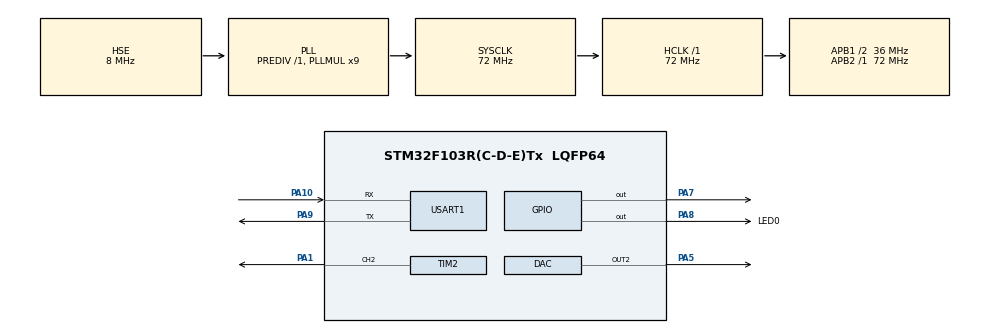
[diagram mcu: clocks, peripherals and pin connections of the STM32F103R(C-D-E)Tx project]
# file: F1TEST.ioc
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DAC.DAC_OutputBuffer2=DAC_OUTPUTBUFFER_DISABLE
DAC.DAC_Trigger2=DAC_TRIGGER_T6_TRGO
Dma.DAC_CH2.0.Direction=DMA_MEMORY_TO_PERIPH
Dma.DAC_CH2.0.Instance=DMA2_Channel4
Dma.DAC_CH2.0.MemDataAlignment=DMA_MDATAALIGN_HALFWORD
Dma.DAC_CH2.0.MemInc=DMA_MINC_ENABLE
Dma.DAC_CH2.0.Mode=DMA_CIRCULAR
Dma.DAC_CH2.0.PeriphDataAlignment=DMA_PDATAALIGN_HALFWORD
Dma.DAC_CH2.0.PeriphInc=DMA_PINC_DISABLE
Dma.DAC_CH2.0.Priority=DMA_PRIORITY_LOW
Dma.Request0=DAC_CH2
Mcu.Family=STM32F1
Mcu.Name=STM32F103R(C-D-E)Tx
Mcu.Package=LQFP64
NVIC.DMA2_Channel4_5_IRQn=true\:0\:0\:false\:false\:true\:false\:true
NVIC.PriorityGroup=NVIC_PRIORITYGROUP_4
NVIC.USART1_IRQn=true\:0\:0\:false\:false\:true\:true\:true
PA1.Signal=S_TIM2_CH2
PA10.Mode=Asynchronous
PA10.Signal=USART1_RX
PA13.Mode=Serial_Wire
PA13.Signal=SYS_JTMS-SWDIO
PA14.Mode=Serial_Wire
PA14.Signal=SYS_JTCK-SWCLK
PA5.Signal=COMP_DAC2_group
PA7.Signal=GPIO_Output
PA8.GPIO_Label=LED0
PA8.PinState=GPIO_PIN_SET
PA8.Signal=GPIO_Output
PA9.Mode=Asynchronous
PA9.Signal=USART1_TX
PD0-OSC_IN.Mode=HSE-External-Oscillator
PD0-OSC_IN.Signal=RCC_OSC_IN
PD1-OSC_OUT.Mode=HSE-External-Oscillator
PD1-OSC_OUT.Signal=RCC_OSC_OUT
ProjectManager.HeapSize=0x200
ProjectManager.StackSize=0x400
ProjectManager.TargetToolchain=MDK-ARM V5.32
RCC.AHBFreq_Value=72000000
RCC.APB1CLKDivider=RCC_HCLK_DIV2
RCC.APB1Freq_Value=36000000
RCC.APB1TimFreq_Value=72000000
RCC.APB2Freq_Value=72000000
RCC.APB2TimFreq_Value=72000000
RCC.HCLKFreq_Value=72000000
RCC.PLLMUL=RCC_PLL_MUL9
RCC.PLLSourceVirtual=RCC_PLLSOURCE_HSE
RCC.SYSCLKFreq_VALUE=72000000
RCC.SYSCLKSource=RCC_SYSCLKSOURCE_PLLCLK
RCC.USBFreq_Value=72000000
SH.COMP_DAC2_group.0=DAC_OUT2,DAC_OUT2
SH.S_TIM2_CH2.0=TIM2_CH2,PWM Generation2 CH2
TIM2.Channel-PWM\ Generation2\ CH2=TIM_CHANNEL_2
TIM2.Period=200-1
TIM2.Prescaler=7200-1
TIM6.AutoReloadPreload=TIM_AUTORELOAD_PRELOAD_DISABLE
TIM6.Period=240-1
TIM6.TIM_MasterOutputTrigger=TIM_TRGO_UPDATE
USART1.VirtualMode=VM_ASYNC
VP_TIM6_VS_ClockSourceINT.Mode=Enable_Timer
board=custom

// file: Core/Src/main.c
/* USER CODE BEGIN Header */
/**
  ******************************************************************************
  * @file           : main.c
  * @brief          : Main program body
  ******************************************************************************
  * @attention
  *
  * <h2><center>&copy; Copyright (c) 2024 STMicroelectronics.
  * All rights reserved.</center></h2>
  *
  * This software component is licensed by ST under BSD 3-Clause license,
  * the "License"; You may not use this file except in compliance with the
  * License. You may obtain a copy of the License at:
  *                        opensource.org/licenses/BSD-3-Clause
  *
  ******************************************************************************
  */
/* USER CODE END Header */
#include "main.h"
#include "dac.h"
#include "dma.h"
#include "tim.h"
#include "usart.h"
#include "gpio.h"

/* USER CODE BEGIN Includes */
#include "LCD/lcd.h"
#include "KEY/key.h"
#include "string.h"
#include "math.h"
#include "stdio.h"
/* USER CODE END Includes */

/* USER CODE BEGIN PD */

#define PI 3.1415926
#define SCREEN_WIDTH  240
#define SCREEN_HEIGHT 320
#define RXBUFFERSIZE  256     //最大接收字节数

/* USER CODE END PD */

/* USER CODE BEGIN PV */

char RxBuffer[RXBUFFERSIZE];   //接收数据

uint8_t aRxBuffer;			//接收中断缓冲
uint8_t Uart1_Rx_Cnt = 0;		//接收缓冲计数
uint8_t LED_Flag = 0;
uint16_t SinWaveTable[300] = {0};
uint16_t TriangleWaveTable[300] = {0};
uint8_t key = 0;
uint16_t N_POINTS = 600;    //一个周期300个点
uint32_t ARR = 0;           //自动重装载值
uint8_t  pulse = 100;
float VMaxRange = 3.3;
float currentFrequency = 1000.0f;
/* USER CODE END PV */

void SystemClock_Config(void);
/* USER CODE BEGIN PFP */

void SineWaveGen(uint32_t NPoints, float VMaxRange, uint16_t* SineWaveTable);
void TriangleWaveGen(uint32_t NPoints, float VMaxRange, uint16_t* TriangleWaveTable);
void display_sine_wave_on_lcd(void) ;
void display_triangle_wave_on_lcd(void) ;
void Display_SquareWave(void);

/* USER CODE END PFP */

int main(void)
{

  /* MCU Configuration--------------------------------------------------------*/

  /* Reset of all peripherals, Initializes the Flash interface and the Systick. */
  HAL_Init();

  /* Configure the system clock */
  SystemClock_Config();

  /* Initialize all configured peripherals */
  MX_GPIO_Init();
  MX_USART1_UART_Init();
  MX_DMA_Init();
  MX_DAC_Init();
  MX_TIM6_Init();
  MX_TIM2_Init();
  /* USER CODE BEGIN 2 */
  lcd_init();
  key_init();
  lcd_clear(WHITE);
  HAL_UART_Receive_IT(&huart1, (uint8_t *)&aRxBuffer, 1);
//  SineWaveGen(300,1.1, SinWaveTable);
//  TriangleWaveGen(300,1.1,TriangleWaveTable);
//  display_triangle_wave_on_lcd();
  HAL_TIM_Base_Start(&htim6);
//  HAL_DAC_Start_DMA(&hdac,DAC_CHANNEL_2,(uint32_t *)SinWaveTable,300,DAC_ALIGN_12B_R);
//	display_sine_wave_on_lcd();
//	for (uint32_t i = 0; i < 300; i++)
//  {
//        printf("TriangleWaveTable[%d] = %u\r\n", i, TriangleWaveTable[i]);  // 打印数组索引和对应的值
//  }

  /* USER CODE END 2 */

  /* Infinite loop */
  while (1)
  {

    /* USER CODE BEGIN 3 */
     key = key_scan(0);
//		if(key == 1)
//		{
//			if(VMaxRange < 3.3)
//			{
//					VMaxRange += 0.1;
//				    if (VMaxRange > 3.3)
//					{
//						VMaxRange = 3.3;  // 限制最大值为 3.3
//					}
//					lcd_clear(WHITE);
//			}
//		}
//		if(key ==2)
//		{
//			if(VMaxRange > 0)
//			{
//					VMaxRange -= 0.1;
//					lcd_clear(WHITE);
//			}
//		}
//		if(key ==3)
//		{
//		    if(currentFrequency < 10000.0f)  // 频率最大为10kHz
//		    {
//                    currentFrequency += 1000.0f;  // 增加1kHz
//					N_POINTS *= 2;
//					lcd_clear(WHITE);
//			}
//
//		}
//		 ARR = (HAL_RCC_GetPCLK2Freq() / (currentFrequency * 300)) -1;
//		__HAL_TIM_SET_AUTORELOAD(&htim6, ARR);
		//printf("%d\r\n",ARR);
//		printf("%.2f\r\n",VMaxRange);

		//SineWaveGen(300, VMaxRange, SinWaveTable);
		//lcd_clear(WHITE);
		//display_sine_wave_on_lcd();
	  lcd_show_string(20,20,30,20,24,"F ",BLACK);
//	  lcd_show_num(45,20,currentFrequency/1000,2,24,BLACK);
	  lcd_show_string(85,20,30,20,24,"KHZ",BLACK);
	  lcd_show_string(20,45,30,20,24,"V ",BLACK);
	  lcd_show_string(110,45,30,20,24,"V",BLACK);
		lcd_show_string(20,70,80,20,24,"Pulse :",BLACK);
		lcd_show_string(150,70,30,20,24,"%",BLACK);
//	  lcd_show_num(45,45,VMaxRange,2,24,BLACK);
//	  lcd_show_string(75,45,5,5,24,".",BLACK);
//	  lcd_show_num(80,45,(int)(VMaxRange * 10) % 10,2,24,BLACK);
	  if(LED_Flag == 1)
	  {
			if(key == 1)
			{
				if(VMaxRange < 3.3)
				{
					VMaxRange += 0.1;
				    if (VMaxRange > 3.3)
					{
						VMaxRange = 3.3;  // 限制最大值为 3.3
					}
					lcd_clear(WHITE);
				}
			}
			if(key ==2)
			{
				if(VMaxRange > 0)
				{
					VMaxRange -= 0.1;
					lcd_clear(WHITE);
				}
			}
			if(key ==3)
			{
				if(currentFrequency < 10000.0f)  // 频率最大为10kHz
				{
                    currentFrequency += 1000.0f;  // 增加1kHz
					N_POINTS *= 2;
					lcd_clear(WHITE);
				}

			}
			ARR = (HAL_RCC_GetPCLK2Freq() / (currentFrequency * 300)) -1;
			__HAL_TIM_SET_AUTORELOAD(&htim6, ARR);
			SineWaveGen(300, VMaxRange, SinWaveTable);
			HAL_DAC_Stop_DMA(&hdac,DAC_CHANNEL_2);
			HAL_DAC_Start_DMA(&hdac,DAC_CHANNEL_2,(uint32_t *)SinWaveTable,300,DAC_ALIGN_12B_R);
			//lcd_clear(WHITE);
		    lcd_show_num(45,20,currentFrequency/1000,2,24,BLACK);
			lcd_show_num(45,45,VMaxRange,2,24,BLACK);
			lcd_show_string(75,45,5,5,24,".",BLACK);
			lcd_show_num(80,45,(int)(VMaxRange * 10) % 10,2,24,BLACK);
			lcd_show_string(45,270,30,20,24,"Sin",BLACK);
			display_sine_wave_on_lcd();
	  }
	  else if(LED_Flag == 2)
	  {
		  //HAL_GPIO_WritePin(GPIOA,GPIO_PIN_8,GPIO_PIN_RESET);
		  if(key == 1)
			{
				if(VMaxRange < 3.3)
				{
					VMaxRange += 0.1;
				  if (VMaxRange > 3.3)
					{
						VMaxRange = 3.3;  // 限制最大值为 3.3
					}
					lcd_clear(WHITE);
				}
			}
			if(key ==2)
			{
				if(VMaxRange > 0)
				{
					VMaxRange -= 0.1;
					lcd_clear(WHITE);
				}
			}
			if(key ==3)
			{
				if(currentFrequency < 10000.0f)  // 频率最大为10kHz
				{
                    currentFrequency += 1000.0f;  // 增加1kHz
					N_POINTS *= 2;
					lcd_clear(WHITE);
				}

			}
		  ARR = (HAL_RCC_GetPCLK2Freq() / (currentFrequency * 300)) -1;
		  __HAL_TIM_SET_AUTORELOAD(&htim6, ARR);
		  TriangleWaveGen(300, VMaxRange, TriangleWaveTable);
		  HAL_DAC_Stop_DMA(&hdac,DAC_CHANNEL_2);
		  HAL_DAC_Start_DMA(&hdac,DAC_CHANNEL_2,(uint32_t *)TriangleWaveTable,300,DAC_ALIGN_12B_R);
		  lcd_show_num(45,20,currentFrequency/1000,2,24,BLACK);
		  lcd_show_num(45,45,VMaxRange,2,24,BLACK);
		  lcd_show_string(75,45,5,5,24,".",BLACK);
		  lcd_show_num(80,45,(int)(VMaxRange * 10) % 10,2,24,BLACK);
		  lcd_show_string(45,270,90,20,24,"Triangle",BLACK);
		  display_triangle_wave_on_lcd();
	  }
	  else if (LED_Flag == 3 )
	  {
			if(key == 1)
			{
				if(pulse < 200)
				{
					pulse += 1;
					lcd_clear(WHITE);
				}
			}
			if(key ==2)
			{
				if(pulse > 0)
				{
					pulse -= 1;
					lcd_clear(WHITE);
				}
			}
			__HAL_TIM_SET_COUNTER(&htim2,pulse);
			HAL_TIM_PWM_Start(&htim2,TIM_CHANNEL_2);  //PA1
		  lcd_show_string(45,270,90,20,24,"PWM WARE",BLACK);

			lcd_show_num(110,70,pulse,3,24,BLACK);

			Display_SquareWave();
	  }

  }
  /* USER CODE END 3 */
}

void SystemClock_Config(void)
{
  RCC_OscInitTypeDef RCC_OscInitStruct = {0};
  RCC_ClkInitTypeDef RCC_ClkInitStruct = {0};

  /** Initializes the RCC Oscillators according to the specified parameters
  * in the RCC_OscInitTypeDef structure.
  */
  RCC_OscInitStruct.OscillatorType = RCC_OSCILLATORTYPE_HSE;
  RCC_OscInitStruct.HSEState = RCC_HSE_ON;
  RCC_OscInitStruct.HSEPredivValue = RCC_HSE_PREDIV_DIV1;
  RCC_OscInitStruct.HSIState = RCC_HSI_ON;
  RCC_OscInitStruct.PLL.PLLState = RCC_PLL_ON;
  RCC_OscInitStruct.PLL.PLLSource = RCC_PLLSOURCE_HSE;
  RCC_OscInitStruct.PLL.PLLMUL = RCC_PLL_MUL9;
  if (HAL_RCC_OscConfig(&RCC_OscInitStruct) != HAL_OK)
  {
    Error_Handler();
  }
  /** Initializes the CPU, AHB and APB buses clocks
  */
  RCC_ClkInitStruct.ClockType = RCC_CLOCKTYPE_HCLK|RCC_CLOCKTYPE_SYSCLK
                              |RCC_CLOCKTYPE_PCLK1|RCC_CLOCKTYPE_PCLK2;
  RCC_ClkInitStruct.SYSCLKSource = RCC_SYSCLKSOURCE_PLLCLK;
  RCC_ClkInitStruct.AHBCLKDivider = RCC_SYSCLK_DIV1;
  RCC_ClkInitStruct.APB1CLKDivider = RCC_HCLK_DIV2;
  RCC_ClkInitStruct.APB2CLKDivider = RCC_HCLK_DIV1;

  if (HAL_RCC_ClockConfig(&RCC_ClkInitStruct, FLASH_LATENCY_2) != HAL_OK)
  {
    Error_Handler();
  }
}

/* USER CODE BEGIN 4 */
//产生正弦波
void SineWaveGen(uint32_t NPoints, float VMaxRange, uint16_t* SineWaveTable)
{
    int i = 0;
    double radian = 0;  // 弧度
    double setup = 0;  // 弧度之间的间隔
    double voltage = 0;  // 输出电压

    setup = (2 * PI) / NPoints;  // 两点之间的间距

    while (i < NPoints)
    {
        voltage = VMaxRange / 2.0 * (sin(radian) + 1.0);  // 计算电压
        SineWaveTable[i] = (uint16_t)(voltage * 4096 / 3.3);  // 电压转为DAC数值
        radian += setup;  // 下一个点的弧度
        i++;
    }
}

//产生三角波
void TriangleWaveGen(uint32_t NPoints, float VMaxRange, uint16_t* TriangleWaveTable)
{
    int i = 0;
//    double ramp_up = 0;    // 上升部分
//    double ramp_down = 0;  // 下降部分
    double voltage = 0;    // 输出电压

    // 三角波的一半周期，假设波形在0到最大值之间线性变化，周期内分为上升和下降
    int half_period = NPoints / 2;

    while (i < NPoints)
    {
        // 上升部分
        if (i < half_period)
        {
            voltage = (VMaxRange / half_period) * i;  // 上升：线性从0到VMaxRange
        }
        // 下降部分
        else
        {
            voltage = VMaxRange - ((VMaxRange / half_period) * (i - half_period));  // 下降：线性从VMaxRange到0
        }

        TriangleWaveTable[i] = (uint16_t)(voltage * 4096 / 3.3);  // 电压转为DAC数值
        i++;
    }
}

void delay_ms(uint32_t ms)
{
	uint32_t ms_uwTick = uwTick;
	while(ms_uwTick - uwTick <ms)
	{

	}

}

void HAL_UART_RxCpltCallback(UART_HandleTypeDef *huart)
{
	if (huart->Instance == USART1) // 判断是哪个串口触发的
	{
		if(Uart1_Rx_Cnt >= 255)  //溢出判断
		{
			Uart1_Rx_Cnt = 0;
			memset(RxBuffer,0x00,sizeof(RxBuffer));
			HAL_UART_Transmit(&huart1, (uint8_t *)"数据溢出", 10,0xFFFF);
		}
		else
		{
			RxBuffer[Uart1_Rx_Cnt++] = aRxBuffer;   //接收数据转存
			if((RxBuffer[Uart1_Rx_Cnt-1] == 0x0A)&&(RxBuffer[Uart1_Rx_Cnt-2] == 0x0D)) //判断结束位
			{
				HAL_UART_Transmit(&huart1, (uint8_t *)&RxBuffer, Uart1_Rx_Cnt,0xFFFF); //将收到的信息发送出去
				if (strncmp((char *)RxBuffer, "Z", 1) == 0)
				{

					LED_Flag = 1;
					lcd_clear(WHITE);
                    //HAL_GPIO_WritePin(GPIOC, GPIO_PIN_13, GPIO_PIN_RESET); // 点亮 LED
				}
				if (strncmp((char *)RxBuffer, "S", 1) == 0)
				{
                    // 如果接收到 "task01"，点亮 LED

					LED_Flag = 2;
					lcd_clear(WHITE);
                    //HAL_GPIO_WritePin(GPIOC, GPIO_PIN_13, GPIO_PIN_RESET); // 点亮 LED
				}
				if (strncmp((char *)RxBuffer, "C", 1) == 0)
				{
                    // 如果接收到 "task01"，点亮 LED

					LED_Flag = 3;
					lcd_clear(WHITE);
                    //HAL_GPIO_WritePin(GPIOC, GPIO_PIN_13, GPIO_PIN_RESET); // 点亮 LED
				}
				//while(HAL_UART_GetState(&huart1) == HAL_UART_STATE_BUSY_TX);//检测UART发送结束
				Uart1_Rx_Cnt = 0;
				memset(RxBuffer,0x00,sizeof(RxBuffer)); //清空数组
			}
		}
	}
    HAL_UART_Receive_IT(&huart1, (uint8_t *)&aRxBuffer, 1);
}

//LCD 显示正弦波函数
void display_sine_wave_on_lcd(void)
{
    uint16_t i;
    int16_t y;
    int16_t amplitude = 120;  // 调整幅度，避免超出屏幕高度范围
    int16_t offset_y = 120;  // 偏移量，使正弦波在屏幕垂直中心显示

    // 每个周期有300个点，两个周期总共600个点
    // 遍历所有的正弦波数据点并显示在LCD上
    for (i = 0; i < N_POINTS; i++) {
        // 将数据点映射到显示两个周期的屏幕宽度
        int16_t x = i * SCREEN_WIDTH / N_POINTS;  // 横坐标映射，x从0到SCREEN_WIDTH

        // 将DAC输出的数值映射到屏幕高度
        y = (SinWaveTable[i % 300] * amplitude / 4096) + offset_y;  // 通过%300确保从第一个周期重复使用数据

        // 防止超出屏幕范围
        if (y < 0) y = 0;
        if (y >= SCREEN_HEIGHT) y = SCREEN_HEIGHT - 1;

        // 在LCD上绘制正弦波的每个点
        lcd_draw_point(x, y, RED);  // 绘制点
    }
}

//LCD显示三角波
void display_triangle_wave_on_lcd(void)
{
    uint16_t i;
    int16_t x;  // 横坐标
    int16_t y;  // 纵坐标
    int16_t amplitude = 120;  // 调整幅度，避免超出屏幕宽度范围
    int16_t offset_x = 120;   // 偏移量，使三角波在屏幕水平中心显示

    // 遍历所有的三角波数据点并显示在LCD上
    for (i = 0; i < N_POINTS; i++) {
        // 将数据点映射到显示屏的垂直方向（幅值），y从0到SCREEN_HEIGHT
        x = i * SCREEN_HEIGHT / N_POINTS;  // 映射到屏幕的高度

        // 将DAC输出的数值映射到屏幕的水平方向（幅度）
        y = (TriangleWaveTable[i % 300] * amplitude / 4096) + offset_x;  // 通过%300确保从第一个周期重复使用数据

        // 防止超出屏幕范围
        if (y < 0) x = 0;
        if (y >= SCREEN_WIDTH) y = SCREEN_WIDTH - 1;

        // 在LCD上绘制三角波的每个点
        lcd_draw_point(x, y, RED);  // 绘制点
    }
}

// 显示方波
void Display_SquareWave(void)
{

    int amplitude = 50;  // 设置波形的幅度（屏幕的纵向大小）
    int offset_y = 180;  // 垂直方向偏移量，用于将波形显示在屏幕中心

    // 绘制第一个周期的方波
    for (int i = 1; i < SCREEN_WIDTH/2; i++)  // 遍历屏幕宽度
    {
        int y;
        if (i < (pulse * SCREEN_WIDTH / 200))  // 如果当前点在脉宽的部分
        {
            y = offset_y - amplitude;  // 高电平
        }
		else if(i  == (pulse * SCREEN_WIDTH / 200))
		{
			for(int k =130; k <230; k++)
			{
				lcd_draw_point(i, k, BLACK);
			}
		}
        else
        {
            y = offset_y + amplitude;  // 低电平
        }
        lcd_draw_point(i, y, RED);  // 绘制点
    }
	if(pulse != 0 && pulse !=100)
	{
		for(int k =130; k <230; k++)
		{
			lcd_draw_point(120, k, RED);
			lcd_draw_point(1,k,RED);
		}

	}
	// 绘制第二个周期的方波
    for (int i = 1; i < SCREEN_WIDTH/2; i++)  // 遍历屏幕宽度
    {
        int y;
        if (i < (pulse * SCREEN_WIDTH / 200))  // 如果当前点在脉宽的部分
        {
            y = offset_y - amplitude;  // 高电平
        }
		else if(i  == (pulse * SCREEN_WIDTH / 200))
		{
			for(int k =130; k <230; k++)
			{
				lcd_draw_point(i+120, k, RED);
			}
		}
        else
        {
            y = offset_y + amplitude;  // 低电平
        }
        lcd_draw_point(i+120, y, RED);  // 绘制点
    }
}
/* USER CODE END 4 */

void Error_Handler(void)
{
  __disable_irq();
  while (1)
  {
  }
}

/************************ (C) COPYRIGHT STMicroelectronics *****END OF FILE****/
